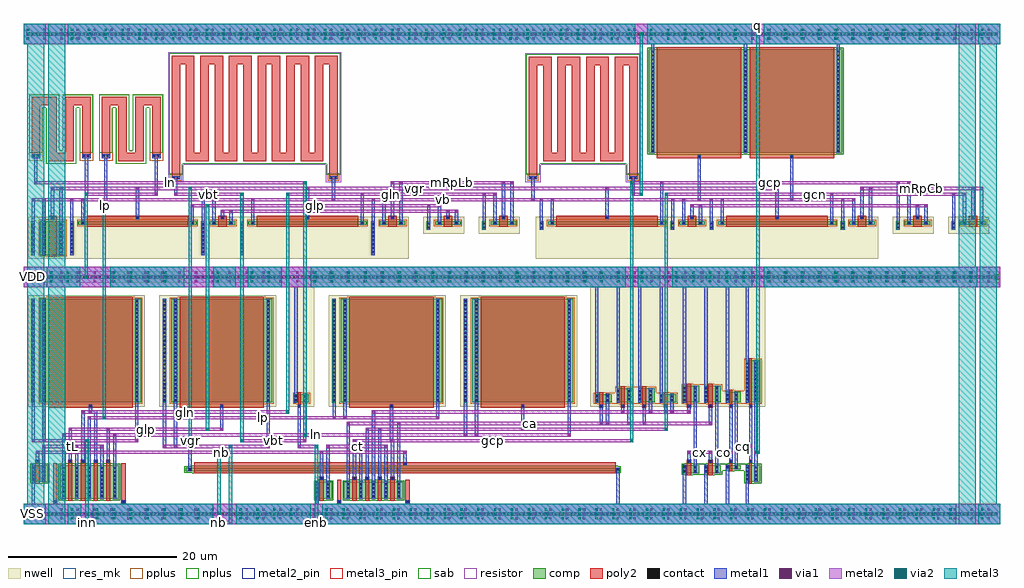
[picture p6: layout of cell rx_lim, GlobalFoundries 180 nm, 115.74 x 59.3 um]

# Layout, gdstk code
import gdstk
lib = gdstk.Library(unit=1e-6, precision=1e-09)
def R(c, l, rs):  # rectangles x0, y0, x1, y1
    for r in rs: c.add(gdstk.rectangle(r[:2], r[2:], *l))
def A(c, l, x, y, w, h, nx, ny, dx, dy):  # array of equal rectangles
    R(c, l, [(x+i*dx, y+j*dy, x+i*dx+w, y+j*dy+h) for i in range(nx) for j in range(ny)])
nwell = (21, 0)
comp = (22, 0)
poly2 = (30, 0)
pplus = (31, 0)
nplus = (32, 0)
contact = (33, 0)
metal1 = (34, 0)
via1 = (35, 0)
metal2 = (36, 0)
metal2_pin = (36, 10)
via2 = (38, 0)
metal3 = (42, 0)
metal3_pin = (42, 10)
sab = (49, 0)
resistor = (62, 0)
res_mk = (110, 5)

rx_lim = lib.new_cell('rx_lim')
R(rx_lim, nwell, [(0.45,11.485,14.33,24.75), (16.03,11.485,29.91,24.75), (31.46,11.485,34.39,26.2), (36.14,11.485,50.02,24.75), (51.72,11.485,65.6,24.75), (67.15,11.485,87.91,26.2), (0.15,26.2,115.59,27.6), (0.45,29.05,45.65,34.03), (60.71,29.05,101.33,34.03), (47.35,32.05,52.23,34.03), (53.93,32.05,58.81,34.03), (103.03,32.05,107.91,34.03), (109.61,32.05,114.49,34.03)])
A(rx_lim, comp, 96.9, 32.5, 0.38, 1, 3, 1, 6.58, 0)
A(rx_lim, comp, 42.2, 33.08, 3, 0.42, 3, 1, 6.58, 0)
A(rx_lim, comp, 97.88, 33.08, 3, 0.42, 3, 1, 6.58, 0)
R(rx_lim, comp, [(0.3,-1.39,115.44,-1.01), (4.25,0.6,11.25,4.6), (34.59,0.6,36.54,2.6), (37.94,0.6,44.94,2.6), (0.9,2.6,2.85,4.6), (85.58,2.6,87.31,4.6), (78.15,3.6,80.1,4.6), (80.7,3.6,82.65,4.6), (19.175,3.87,70.625,4.29), (83.25,4.1,84.98,4.6), (0.9,12.015,1.28,24.3), (1.88,12.015,13.88,24.3), (16.48,12.015,16.86,24.3), (17.46,12.015,29.46,24.3), (32.06,12.015,33.79,13.015), (36.59,12.015,36.97,24.3), (37.57,12.015,49.57,24.3), (52.17,12.015,52.55,24.3), (53.15,12.015,65.15,24.3), (67.75,12.015,69.7,13.015), (70.3,12.015,72.25,13.715), (72.85,12.015,74.8,13.715), (75.4,12.015,77.35,13.015), (78.15,12.015,80.1,14.015), (80.7,12.015,82.65,14.015), (83.25,12.015,84.98,13.265), (85.58,12.015,87.31,17.015), (0.3,26.71,115.44,27.09), (0.9,29.5,1.28,33.5), (1.88,29.5,4.88,33.5), (5.48,29.5,5.86,33.5), (21.06,29.5,21.44,33.5), (25.64,29.5,26.02,33.5), (41.22,29.5,41.6,33.5), (47.8,32.5,48.18,33.5), (54.38,32.5,54.76,33.5), (61.16,32.5,61.54,33.5), (76.74,32.5,77.12,33.5), (81.32,32.5,81.7,33.5), (6.46,33.08,20.46,33.5), (22.04,33.08,25.04,33.5), (26.62,33.08,40.62,33.5), (62.14,33.08,76.14,33.5), (77.72,33.08,80.72,33.5), (82.3,33.08,96.3,33.5), (74.06,41.615,97.06,53.9), (0.3,55.51,115.44,55.89)])
A(rx_lim, poly2, 5.25, 0.37, 0.5, 4.86, 4, 1, 1.5, 0)
A(rx_lim, poly2, 38.94, 0.37, 0.5, 2.86, 4, 1, 1.5, 0)
A(rx_lim, poly2, 43.2, 32.85, 1, 1.28, 3, 1, 6.58, 0)
A(rx_lim, poly2, 98.88, 32.85, 1, 1.28, 3, 1, 6.58, 0)
A(rx_lim, poly2, 19.2, 40.615, 2.7, 1, 5, 1, 3.4, 0)
A(rx_lim, poly2, 61.56, 40.615, 2.7, 1, 3, 1, 3.4, 0)
A(rx_lim, poly2, 19.2, 41.615, 1, 10.525, 10, 1, 1.7, 0)
A(rx_lim, poly2, 61.56, 41.615, 1, 10.39, 6, 1, 1.7, 0)
A(rx_lim, poly2, 59.86, 52.005, 2.7, 1, 4, 1, 3.4, 0)
A(rx_lim, poly2, 17.5, 52.14, 2.7, 1, 6, 1, 3.4, 0)
R(rx_lim, poly2, [(3.45,0.03,3.95,4.83), (11.55,0.03,12.05,4.83), (37.14,0.03,37.64,2.83), (45.24,0.03,45.74,2.83), (35.04,0.37,35.54,3.23), (1.35,2.37,1.85,5.23), (86.03,2.37,86.31,4.86), (78.6,3.37,79.1,5.23), (81.15,3.37,81.65,5.23), (20.175,3.64,70.175,4.92), (83.7,3.87,83.98,4.86), (83.655,4.86,84.025,5.23), (85.985,4.86,86.355,5.23), (2.88,11.385,12.88,24.53), (18.46,11.385,28.46,24.53), (32.465,11.385,32.835,11.755), (38.57,11.385,48.57,24.53), (54.15,11.385,64.15,24.53), (68.2,11.385,68.7,13.245), (70.75,11.385,71.25,13.945), (73.3,11.385,73.8,13.945), (75.85,11.385,76.35,13.245), (78.6,11.385,79.1,14.245), (81.15,11.385,81.65,14.245), (83.655,11.385,84.025,11.755), (85.985,11.385,86.355,11.755), (32.51,11.755,32.79,13.245), (83.7,11.755,83.98,13.495), (86.03,11.755,86.31,17.245), (2.88,29.27,3.88,34.13), (7.46,32.85,19.46,34.13), (23.04,32.85,24.04,34.13), (27.62,32.85,39.62,34.13), (63.14,32.85,75.14,34.13), (78.72,32.85,79.72,34.13), (83.3,32.85,95.3,34.13), (17.5,38.505,18.5,52.14), (36.2,38.505,37.2,52.14), (59.86,38.505,60.86,52.005), (71.76,38.505,72.76,52.005), (2.9,40.615,5.9,41.615), (11.2,40.615,14.2,41.615), (75.06,40.985,85.06,54.13), (86.06,40.985,96.06,54.13), (0.9,41.005,1.9,47.255), (6.9,41.005,7.9,47.255), (9.2,41.005,10.2,47.255), (15.2,41.005,16.2,47.255), (2.9,41.615,3.9,47.255), (4.9,41.615,5.9,47.255), (11.2,41.615,12.2,47.255), (13.2,41.615,14.2,47.255), (0.9,47.255,3.9,48.255), (4.9,47.255,7.9,48.255), (9.2,47.255,12.2,48.255), (13.2,47.255,16.2,48.255)])
A(rx_lim, pplus, 67.97, 11.785, 0.96, 0.07, 4, 1, 2.55, 0)
A(rx_lim, pplus, 42.97, 32.85, 1.46, 0.07, 3, 1, 6.58, 0)
A(rx_lim, pplus, 98.65, 32.85, 1.46, 0.07, 3, 2, 6.58, 0.81)
A(rx_lim, pplus, 42.04, 32.92, 3.32, 0.74, 3, 1, 6.58, 0)
A(rx_lim, pplus, 97.72, 32.92, 3.32, 0.74, 3, 1, 6.58, 0)
A(rx_lim, pplus, 2.65, 33.66, 1.46, 0.07, 3, 1, 20.16, 0)
R(rx_lim, pplus, [(0.28,-1.41,115.46,-0.99), (2.65,11.785,13.11,11.855), (18.23,11.785,28.69,11.855), (32.28,11.785,33.02,11.855), (38.34,11.785,48.8,11.855), (53.92,11.785,64.38,11.855), (78.37,11.785,79.33,11.855), (80.92,11.785,81.88,11.855), (83.47,11.785,84.21,11.855), (85.8,11.785,86.54,11.855), (1.72,11.855,14.04,24.46), (17.3,11.855,29.62,24.46), (31.9,11.855,33.95,13.175), (37.41,11.855,49.73,24.46), (52.99,11.855,65.31,24.46), (67.59,11.855,77.51,13.175), (77.99,11.855,87.47,13.425), (32.28,13.175,33.02,13.245), (67.97,13.175,68.93,13.245), (70.14,13.175,74.96,13.875), (75.62,13.175,76.58,13.245), (77.99,13.425,82.81,14.175), (83.47,13.425,84.21,13.495), (85.42,13.425,87.47,17.175), (70.52,13.875,71.48,13.945), (73.07,13.875,74.03,13.945), (78.37,14.175,79.33,14.245), (80.92,14.175,81.88,14.245), (85.8,17.175,86.54,17.245), (2.65,24.46,13.11,24.53), (18.23,24.46,28.69,24.53), (38.34,24.46,48.8,24.53), (53.92,24.46,64.38,24.53), (2.65,29.27,4.11,29.34), (1.72,29.34,5.04,33.66), (7.23,32.85,19.69,32.92), (22.81,32.85,24.27,32.92), (27.39,32.85,39.85,32.92), (62.91,32.85,75.37,32.92), (78.49,32.85,79.95,32.92), (83.07,32.85,95.53,32.92), (6.3,32.92,20.62,33.66), (21.88,32.92,25.2,33.66), (26.46,32.92,40.78,33.66), (61.98,32.92,76.3,33.66), (77.56,32.92,80.88,33.66), (82.14,32.92,96.46,33.66), (7.23,33.66,19.69,33.73), (27.39,33.66,39.85,33.73), (49.55,33.66,51.01,33.73), (56.13,33.66,57.59,33.73), (62.91,33.66,75.37,33.73), (78.49,33.66,79.95,33.73), (83.07,33.66,95.53,33.73), (17.3,38.305,18.7,39.115), (36,38.305,37.4,39.115), (59.66,38.305,61.06,39.115), (71.56,38.305,72.96,39.115), (2.6,40.315,6.2,41.915), (10.9,40.315,14.5,41.915), (0.6,40.705,2.2,46.955), (6.6,40.705,8.2,46.955), (8.9,40.705,10.5,46.955), (14.9,40.705,16.5,46.955), (2.6,41.915,4.2,46.955), (4.6,41.915,6.2,46.955), (10.9,41.915,12.5,46.955), (12.9,41.915,14.5,46.955), (0.6,46.955,4.2,48.555), (4.6,46.955,8.2,48.555), (8.9,46.955,12.5,48.555), (12.9,46.955,16.5,48.555), (0.28,55.49,115.46,55.91)])
A(rx_lim, nplus, 5.02, 0.37, 0.96, 0.07, 4, 2, 1.5, 4.39)
A(rx_lim, nplus, 38.71, 0.37, 0.96, 0.07, 4, 2, 1.5, 2.39)
A(rx_lim, nplus, 96.88, 32.48, 0.42, 1.04, 3, 1, 6.58, 0)
R(rx_lim, nplus, [(34.81,0.37,35.77,0.44), (4.09,0.44,11.41,4.76), (34.43,0.44,36.7,2.76), (37.78,0.44,45.1,2.76), (1.12,2.37,2.08,2.44), (85.8,2.37,86.54,2.44), (0.74,2.44,3.01,4.76), (85.42,2.44,87.47,3.94), (34.81,2.76,35.77,2.83), (78.37,3.37,79.33,3.44), (80.92,3.37,81.88,3.44), (77.99,3.44,82.81,3.94), (19.945,3.64,70.405,3.71), (19.015,3.71,70.785,4.45), (83.47,3.87,84.21,3.94), (77.99,3.94,87.47,4.76), (19.945,4.45,70.405,4.52), (1.12,4.76,2.08,4.83), (78.37,4.76,79.33,4.83), (80.92,4.76,81.88,4.83), (83.47,4.76,84.21,4.83), (85.8,4.76,86.54,4.83), (0.88,11.995,1.3,24.32), (16.46,11.995,16.88,24.32), (36.57,11.995,36.99,24.32), (52.15,11.995,52.57,24.32), (0.14,26.55,0.74,26.69), (115,26.55,115.6,26.69), (0.14,26.69,115.6,27.11), (0.14,27.11,0.74,27.25), (115,27.11,115.6,27.25), (0.88,29.48,1.3,33.52), (5.46,29.48,5.88,33.52), (21.04,29.48,21.46,33.52), (25.62,29.48,26.04,33.52), (41.2,29.48,41.62,33.52), (47.78,32.48,48.2,33.52), (54.36,32.48,54.78,33.52), (61.14,32.48,61.56,33.52), (76.72,32.48,77.14,33.52), (81.3,32.48,81.72,33.52), (74.83,41.385,85.29,41.455), (85.83,41.385,96.29,41.455), (73.9,41.455,97.22,54.06), (74.83,54.06,85.29,54.13), (85.83,54.06,96.29,54.13)])
A(rx_lim, contact, 0.42, -1.31, 0.22, 0.22, 245, 2, 0.47, 28.1)
A(rx_lim, contact, 34.665, 0.785, 0.22, 0.22, 1, 4, 0, 0.47)
A(rx_lim, contact, 35.93, 0.785, 0.22, 0.22, 1, 4, 0, 0.47)
A(rx_lim, contact, 38.33, 0.785, 0.22, 0.22, 5, 4, 1.5, 0.47)
A(rx_lim, contact, 4.64, 0.845, 0.22, 0.22, 5, 8, 1.5, 0.47)
A(rx_lim, contact, 0.975, 2.785, 0.22, 0.22, 1, 4, 0, 0.47)
A(rx_lim, contact, 2.24, 2.785, 0.22, 0.22, 1, 4, 0, 0.47)
A(rx_lim, contact, 85.655, 2.785, 0.22, 0.22, 1, 4, 0, 0.47)
A(rx_lim, contact, 86.7, 2.785, 0.22, 0.22, 1, 4, 0, 0.47)
A(rx_lim, contact, 39.08, 2.935, 0.22, 0.22, 4, 1, 1.5, 0)
A(rx_lim, contact, 5.39, 4.935, 0.22, 0.22, 4, 1, 1.5, 0)
A(rx_lim, contact, 68.34, 11.46, 0.22, 0.22, 4, 1, 2.55, 0)
A(rx_lim, contact, 0.98, 12.17, 0.22, 0.22, 1, 26, 0, 0.47)
A(rx_lim, contact, 2.27, 12.17, 0.22, 0.22, 1, 26, 0, 0.47)
A(rx_lim, contact, 13.27, 12.17, 0.22, 0.22, 1, 26, 0, 0.47)
A(rx_lim, contact, 16.56, 12.17, 0.22, 0.22, 1, 26, 0, 0.47)
A(rx_lim, contact, 17.85, 12.17, 0.22, 0.22, 1, 26, 0, 0.47)
A(rx_lim, contact, 28.85, 12.17, 0.22, 0.22, 1, 26, 0, 0.47)
A(rx_lim, contact, 36.67, 12.17, 0.22, 0.22, 1, 26, 0, 0.47)
A(rx_lim, contact, 37.96, 12.17, 0.22, 0.22, 1, 26, 0, 0.47)
A(rx_lim, contact, 48.96, 12.17, 0.22, 0.22, 1, 26, 0, 0.47)
A(rx_lim, contact, 52.25, 12.17, 0.22, 0.22, 1, 26, 0, 0.47)
A(rx_lim, contact, 53.54, 12.17, 0.22, 0.22, 1, 26, 0, 0.47)
A(rx_lim, contact, 64.54, 12.17, 0.22, 0.22, 1, 26, 0, 0.47)
A(rx_lim, contact, 78.225, 12.2, 0.22, 0.22, 1, 4, 0, 0.47)
A(rx_lim, contact, 79.49, 12.2, 0.22, 0.22, 1, 4, 0, 0.47)
A(rx_lim, contact, 80.775, 12.2, 0.22, 0.22, 1, 4, 0, 0.47)
A(rx_lim, contact, 82.04, 12.2, 0.22, 0.22, 1, 4, 0, 0.47)
A(rx_lim, contact, 70.375, 12.285, 0.22, 0.22, 1, 3, 0, 0.47)
A(rx_lim, contact, 71.64, 12.285, 0.22, 0.22, 1, 3, 0, 0.47)
A(rx_lim, contact, 72.925, 12.285, 0.22, 0.22, 1, 3, 0, 0.47)
A(rx_lim, contact, 74.19, 12.285, 0.22, 0.22, 1, 3, 0, 0.47)
A(rx_lim, contact, 85.655, 12.29, 0.22, 0.22, 1, 10, 0, 0.47)
A(rx_lim, contact, 86.7, 12.29, 0.22, 0.22, 1, 10, 0, 0.47)
A(rx_lim, contact, 0.98, 29.745, 0.22, 0.22, 1, 8, 0, 0.47)
A(rx_lim, contact, 2.27, 29.745, 0.22, 0.22, 1, 8, 0, 0.47)
A(rx_lim, contact, 4.27, 29.745, 0.22, 0.22, 1, 8, 0, 0.47)
A(rx_lim, contact, 5.56, 29.745, 0.22, 0.22, 1, 8, 0, 0.47)
A(rx_lim, contact, 21.14, 29.745, 0.22, 0.22, 1, 8, 0, 0.47)
A(rx_lim, contact, 25.72, 29.745, 0.22, 0.22, 1, 8, 0, 0.47)
A(rx_lim, contact, 41.3, 29.745, 0.22, 0.22, 1, 8, 0, 0.47)
A(rx_lim, contact, 96.98, 32.655, 0.22, 0.22, 3, 2, 6.58, 0.47)
A(rx_lim, contact, 3.27, 33.835, 0.22, 0.22, 5, 1, 10.08, 0)
A(rx_lim, contact, 69.03, 33.835, 0.22, 0.22, 4, 1, 10.08, 0)
A(rx_lim, contact, 74.45, 41.77, 0.22, 0.22, 3, 26, 11, 0.47)
A(rx_lim, contact, 0.42, 55.59, 0.22, 0.22, 245, 1, 0.47, 0)
R(rx_lim, contact, [(3.59,0.105,3.81,0.325), (11.69,0.105,11.91,0.325), (37.28,0.105,37.5,0.325), (45.38,0.105,45.6,0.325), (35.18,2.935,35.4,3.155), (78.225,3.755,78.445,3.975), (79.49,3.755,79.71,3.975), (80.775,3.755,80.995,3.975), (82.04,3.755,82.26,3.975), (19.565,3.97,19.785,4.19), (70.33,3.97,70.55,4.19), (78.225,4.225,78.445,4.445), (79.49,4.225,79.71,4.445), (80.775,4.225,80.995,4.445), (82.04,4.225,82.26,4.445), (83.325,4.24,83.545,4.46), (84.37,4.24,84.59,4.46), (45.065,4.625,45.285,4.845), (1.49,4.935,1.71,5.155), (78.74,4.935,78.96,5.155), (81.29,4.935,81.51,5.155), (83.73,4.935,83.95,5.155), (86.06,4.935,86.28,5.155), (7.77,11.46,7.99,11.68), (23.35,11.46,23.57,11.68), (32.54,11.46,32.76,11.68), (43.46,11.46,43.68,11.68), (59.04,11.46,59.26,11.68), (78.74,11.46,78.96,11.68), (81.29,11.46,81.51,11.68), (83.73,11.46,83.95,11.68), (86.06,11.46,86.28,11.68), (32.135,12.17,32.355,12.39), (33.18,12.17,33.4,12.39), (67.825,12.17,68.045,12.39), (69.09,12.17,69.31,12.39), (75.475,12.17,75.695,12.39), (76.74,12.17,76.96,12.39), (83.325,12.295,83.545,12.515), (84.37,12.295,84.59,12.515), (32.135,12.64,32.355,12.86), (33.18,12.64,33.4,12.86), (67.825,12.64,68.045,12.86), (69.09,12.64,69.31,12.86), (75.475,12.64,75.695,12.86), (76.74,12.64,76.96,12.86), (83.325,12.765,83.545,12.985), (84.37,12.765,84.59,12.985), (47.88,32.655,48.1,32.875), (54.46,32.655,54.68,32.875), (61.24,32.655,61.46,32.875), (76.82,32.655,77.04,32.875), (81.4,32.655,81.62,32.875), (47.88,33.125,48.1,33.345), (54.46,33.125,54.68,33.345), (61.24,33.125,61.46,33.345), (76.82,33.125,77.04,33.345), (81.4,33.125,81.62,33.345), (6.85,33.18,7.07,33.4), (19.85,33.18,20.07,33.4), (22.43,33.18,22.65,33.4), (24.43,33.18,24.65,33.4), (27.01,33.18,27.23,33.4), (40.01,33.18,40.23,33.4), (42.59,33.18,42.81,33.4), (44.59,33.18,44.81,33.4), (49.17,33.18,49.39,33.4), (51.17,33.18,51.39,33.4), (55.75,33.18,55.97,33.4), (57.75,33.18,57.97,33.4), (62.53,33.18,62.75,33.4), (75.53,33.18,75.75,33.4), (78.11,33.18,78.33,33.4), (80.11,33.18,80.33,33.4), (82.69,33.18,82.91,33.4), (95.69,33.18,95.91,33.4), (98.27,33.18,98.49,33.4), (100.27,33.18,100.49,33.4), (104.85,33.18,105.07,33.4), (106.85,33.18,107.07,33.4), (111.43,33.18,111.65,33.4), (113.43,33.18,113.65,33.4), (50.17,33.835,50.39,34.055), (56.75,33.835,56.97,34.055), (105.85,33.835,106.07,34.055), (112.43,33.835,112.65,34.055), (17.655,38.575,17.875,38.795), (18.125,38.575,18.345,38.795), (36.355,38.575,36.575,38.795), (36.825,38.575,37.045,38.795), (60.015,38.575,60.235,38.795), (60.485,38.575,60.705,38.795), (71.915,38.575,72.135,38.795), (72.385,38.575,72.605,38.795), (79.95,41.06,80.17,41.28), (90.95,41.06,91.17,41.28), (1.055,41.175,1.275,41.395), (1.525,41.175,1.745,41.395), (7.055,41.175,7.275,41.395), (7.525,41.175,7.745,41.395), (9.355,41.175,9.575,41.395), (9.825,41.175,10.045,41.395), (15.355,41.175,15.575,41.395), (15.825,41.175,16.045,41.395)])
A(rx_lim, metal1, 78.145, 0, 0.38, 4.605, 3, 1, 2.55, 0)
A(rx_lim, metal1, 67.745, 12.01, 0.38, 13.69, 4, 1, 2.55, 0)
A(rx_lim, metal1, 78.145, 12.01, 0.38, 13.69, 3, 1, 2.55, 0)
A(rx_lim, metal1, 74.37, 41.61, 0.38, 12.89, 3, 1, 11, 0)
R(rx_lim, metal1, [(0,-2.4,115.74,0), (0.895,0,1.275,4.605), (3.51,0,3.89,0.4), (11.61,0,11.99,0.4), (34.585,0,34.965,2.605), (37.2,0,37.58,0.4), (45.3,0,45.68,0.4), (70.25,0,70.63,4.295), (85.575,0,85.955,4.605), (4.56,0.595,4.94,8.35), (6.06,0.595,6.44,6.99), (7.56,0.595,7.94,10.39), (9.06,0.595,9.44,6.99), (10.56,0.595,10.94,8.35), (35.85,0.595,36.23,6.99), (38.25,0.595,38.63,9.71), (39.75,0.595,40.13,6.99), (41.25,0.595,41.63,11.07), (42.75,0.595,43.13,6.99), (44.25,0.595,44.63,9.71), (2.16,2.595,2.54,6.99), (86.62,2.595,87,17.02), (35.1,2.855,35.48,6.31), (39,2.855,39.38,7.67), (40.5,2.855,40.88,9.03), (42,2.855,42.38,9.03), (43.5,2.855,43.88,7.29), (79.41,3.595,79.79,14.02), (81.96,3.595,82.34,14.02), (19.485,3.865,19.865,7.67), (84.29,4.095,84.67,13.27), (44.985,4.545,45.365,6.31), (1.41,4.855,1.79,6.31), (5.31,4.855,5.69,9.03), (6.81,4.855,7.19,11.07), (8.31,4.855,8.69,10.69), (9.81,4.855,10.19,9.03), (78.66,4.855,79.04,6.31), (81.21,4.855,81.59,6.31), (83.65,4.855,84.03,11.76), (85.98,4.855,86.36,11.76), (16.48,6.61,16.86,24.3), (17.77,6.61,18.15,24.305), (28.77,6.61,29.15,24.305), (32.46,6.61,32.84,11.76), (0.9,7.29,1.28,24.3), (2.19,7.29,2.57,24.305), (13.19,7.29,13.57,24.305), (33.1,7.29,33.48,13.02), (43.38,7.29,43.88,7.67), (43.38,7.67,43.76,11.76), (52.17,7.97,52.55,24.3), (53.46,7.97,53.84,24.305), (64.46,7.97,64.84,24.305), (23.27,8.65,23.65,11.76), (58.96,8.65,59.34,11.76), (68.26,9.33,68.64,11.76), (69.01,9.33,69.39,13.02), (71.56,9.33,71.94,13.72), (73.36,9.33,73.74,11.76), (81.21,9.33,81.59,11.76), (36.59,10.01,36.97,24.3), (37.88,10.01,38.26,24.305), (48.88,10.01,49.26,24.305), (7.69,10.69,8.69,11.07), (70.81,10.69,71.19,11.76), (74.11,10.69,74.49,13.72), (75.91,10.69,76.29,11.76), (76.66,10.69,77.04,13.02), (78.66,10.69,79.04,11.76), (7.69,11.07,8.07,11.76), (32.055,12.01,32.435,25.7), (85.575,12.01,85.955,25.7), (0,25.7,115.74,28.1), (2.19,29.495,2.57,36.23), (4.19,29.495,4.57,37.59), (0.9,29.5,1.28,36.23), (5.48,29.5,5.86,36.23), (21.06,29.5,21.44,36.23), (25.64,29.5,26.02,36.23), (41.22,29.5,41.6,36.23), (47.8,32.5,48.18,35.55), (54.38,32.5,54.76,36.91), (61.16,32.5,61.54,36.23), (76.74,32.5,77.12,36.23), (81.32,32.5,81.7,36.23), (96.9,32.5,97.28,36.23), (103.48,32.5,103.86,38.27), (110.06,32.5,110.44,36.91), (6.77,33.075,7.15,36.23), (19.77,33.075,20.15,35.55), (22.35,33.075,22.73,36.23), (24.35,33.075,24.73,34.87), (26.93,33.075,27.31,36.23), (39.93,33.075,40.31,36.91), (42.51,33.075,42.89,36.23), (44.51,33.075,44.89,38.27), (49.09,33.075,49.47,35.55), (51.09,33.075,51.47,34.87), (55.67,33.075,56.05,36.91), (57.67,33.075,58.05,38.27), (62.45,33.075,62.83,36.23), (75.45,33.075,75.83,38.27), (78.03,33.075,78.41,36.23), (80.03,33.075,80.41,35.55), (82.61,33.075,82.99,36.23), (95.61,33.075,95.99,36.91), (98.19,33.075,98.57,36.23), (100.19,33.075,100.57,37.59), (104.77,33.075,105.15,38.27), (106.77,33.075,107.15,35.55), (111.35,33.075,111.73,36.91), (113.35,33.075,113.73,37.59), (3.19,33.755,3.57,37.59), (13.27,33.755,13.65,37.59), (23.35,33.755,23.73,34.87), (33.43,33.755,33.81,37.59), (43.51,33.755,43.89,38.27), (50.09,33.755,50.47,34.87), (56.67,33.755,57.05,38.27), (68.95,33.755,69.33,37.59), (79.03,33.755,79.41,35.55), (89.11,33.755,89.49,37.59), (99.19,33.755,99.57,37.59), (105.77,33.755,106.15,35.55), (112.35,33.755,112.73,37.59), (9.51,35.17,9.89,41.005), (36.51,35.85,36.89,38.505), (60.17,35.85,60.55,38.505), (79.87,35.85,80.25,41.36), (90.87,35.85,91.25,41.36), (7.21,36.53,7.59,41.005), (15.51,36.53,15.89,41.005), (17.81,36.53,18.19,38.505), (72.07,36.53,72.45,38.505), (1.21,37.89,1.59,41.005), (17.5,38.505,18.5,38.865), (36.2,38.505,37.2,38.865), (59.86,38.505,60.86,38.865), (71.76,38.505,72.76,38.865), (0.9,41.005,1.9,41.465), (6.9,41.005,7.9,41.465), (9.2,41.005,10.2,41.465), (15.2,41.005,16.2,41.465), (0,54.5,115.74,56.9)])
A(rx_lim, via1, 0.27, -1.85, 0.26, 0.26, 58, 3, 2, 0.52)
A(rx_lim, via1, 0.27, 26.25, 0.26, 0.26, 58, 3, 2, 0.52)
A(rx_lim, via1, 0.27, 55.05, 0.26, 0.26, 58, 3, 2, 0.52)
R(rx_lim, via1, [(1.47,5.99,1.73,6.25), (35.16,5.99,35.42,6.25), (45.045,5.99,45.305,6.25), (78.72,5.99,78.98,6.25), (79.47,5.99,79.73,6.25), (81.27,5.99,81.53,6.25), (82.02,5.99,82.28,6.25), (83.71,5.99,83.97,6.25), (86.68,5.99,86.94,6.25), (2.22,6.67,2.48,6.93), (6.12,6.67,6.38,6.93), (9.12,6.67,9.38,6.93), (16.54,6.67,16.8,6.93), (17.83,6.67,18.09,6.93), (28.83,6.67,29.09,6.93), (32.52,6.67,32.78,6.93), (35.91,6.67,36.17,6.93), (39.81,6.67,40.07,6.93), (42.81,6.67,43.07,6.93), (84.35,6.67,84.61,6.93), (86.04,6.67,86.3,6.93), (0.96,7.35,1.22,7.61), (2.25,7.35,2.51,7.61), (13.25,7.35,13.51,7.61), (19.545,7.35,19.805,7.61), (33.16,7.35,33.42,7.61), (39.06,7.35,39.32,7.61), (43.44,7.35,43.7,7.61), (4.62,8.03,4.88,8.29), (10.62,8.03,10.88,8.29), (52.23,8.03,52.49,8.29), (53.52,8.03,53.78,8.29), (64.52,8.03,64.78,8.29), (5.37,8.71,5.63,8.97), (9.87,8.71,10.13,8.97), (23.33,8.71,23.59,8.97), (40.56,8.71,40.82,8.97), (42.06,8.71,42.32,8.97), (59.02,8.71,59.28,8.97), (38.31,9.39,38.57,9.65), (44.31,9.39,44.57,9.65), (68.32,9.39,68.58,9.65), (69.07,9.39,69.33,9.65), (71.62,9.39,71.88,9.65), (73.42,9.39,73.68,9.65), (81.27,9.39,81.53,9.65), (7.62,10.07,7.88,10.33), (36.65,10.07,36.91,10.33), (37.94,10.07,38.2,10.33), (48.94,10.07,49.2,10.33), (6.87,10.75,7.13,11.01), (7.75,10.75,8.01,11.01), (41.31,10.75,41.57,11.01), (70.87,10.75,71.13,11.01), (74.17,10.75,74.43,11.01), (75.97,10.75,76.23,11.01), (76.72,10.75,76.98,11.01), (78.72,10.75,78.98,11.01), (23.41,34.55,23.67,34.81), (24.41,34.55,24.67,34.81), (50.15,34.55,50.41,34.81), (51.15,34.55,51.41,34.81), (9.57,35.23,9.83,35.49), (19.83,35.23,20.09,35.49), (47.86,35.23,48.12,35.49), (49.15,35.23,49.41,35.49), (79.09,35.23,79.35,35.49), (80.09,35.23,80.35,35.49), (105.83,35.23,106.09,35.49), (106.83,35.23,107.09,35.49), (0.96,35.91,1.22,36.17), (2.25,35.91,2.51,36.17), (5.54,35.91,5.8,36.17), (6.83,35.91,7.09,36.17), (21.12,35.91,21.38,36.17), (22.41,35.91,22.67,36.17), (25.7,35.91,25.96,36.17), (26.99,35.91,27.25,36.17), (36.57,35.91,36.83,36.17), (41.28,35.91,41.54,36.17), (42.57,35.91,42.83,36.17), (60.23,35.91,60.49,36.17), (61.22,35.91,61.48,36.17), (62.51,35.91,62.77,36.17), (76.8,35.91,77.06,36.17), (78.09,35.91,78.35,36.17), (79.93,35.91,80.19,36.17), (81.38,35.91,81.64,36.17), (82.67,35.91,82.93,36.17), (90.93,35.91,91.19,36.17), (96.96,35.91,97.22,36.17), (98.25,35.91,98.51,36.17), (7.27,36.59,7.53,36.85), (15.57,36.59,15.83,36.85), (17.87,36.59,18.13,36.85), (39.99,36.59,40.25,36.85), (54.44,36.59,54.7,36.85), (55.73,36.59,55.99,36.85), (72.13,36.59,72.39,36.85), (95.67,36.59,95.93,36.85), (110.12,36.59,110.38,36.85), (111.41,36.59,111.67,36.85), (3.25,37.27,3.51,37.53), (4.25,37.27,4.51,37.53), (13.33,37.27,13.59,37.53), (33.49,37.27,33.75,37.53), (69.01,37.27,69.27,37.53), (89.17,37.27,89.43,37.53), (99.25,37.27,99.51,37.53), (100.25,37.27,100.51,37.53), (112.41,37.27,112.67,37.53), (113.41,37.27,113.67,37.53), (1.27,37.95,1.53,38.21), (43.57,37.95,43.83,38.21), (44.57,37.95,44.83,38.21), (56.73,37.95,56.99,38.21), (57.73,37.95,57.99,38.21), (75.51,37.95,75.77,38.21), (103.54,37.95,103.8,38.21), (104.83,37.95,105.09,38.21)])
R(rx_lim, metal2, [(0,-2.4,115.74,0), (1.41,5.93,45.365,6.31), (78.66,5.93,81.59,6.31), (81.96,5.93,84.03,6.31), (86.62,5.93,87.23,6.31), (2.16,6.61,9.44,6.99), (16.48,6.61,29.15,6.99), (32.46,6.61,34.87,6.99), (35.85,6.61,43.13,6.99), (84.29,6.61,86.36,6.99), (0.9,7.29,13.57,7.67), (19.485,7.29,19.91,7.67), (25.65,7.29,33.48,7.67), (39,7.29,72.27,7.67), (4.56,7.97,64.84,8.35), (5.31,8.65,23.65,9.03), (40.5,8.65,76.35,9.03), (38.25,9.33,81.59,9.71), (7.56,10.01,49.26,10.39), (6.81,10.69,31.47,11.07), (41.25,10.69,79.04,11.07), (0,25.7,115.74,28.1), (23.35,34.49,51.47,34.87), (9.33,35.17,9.89,35.55), (19.77,35.17,49.47,35.55), (79.03,35.17,107.15,35.55), (0.9,35.85,98.57,36.23), (7.205,36.53,15.89,36.91), (17.81,36.53,26.03,36.91), (31.09,36.53,56.05,36.91), (72.07,36.53,73.375,36.91), (75.97,36.53,111.73,36.91), (3.19,37.21,89.49,37.59), (99.19,37.21,113.73,37.59), (1.21,37.89,33.51,38.27), (43.51,37.89,58.05,38.27), (71.89,37.89,105.15,38.27), (0,54.5,115.74,56.9)])
R(rx_lim, metal2_pin, [(0.95,-1.25,1.05,-1.15), (0.95,26.85,1.05,26.95)])
A(rx_lim, via2, 0.37, -1.85, 0.26, 0.26, 1, 3, 0, 0.52)
A(rx_lim, via2, 5.57, -1.85, 0.26, 0.26, 1, 3, 0, 0.52)
A(rx_lim, via2, 8.55, -1.85, 0.26, 0.26, 7, 3, 2, 0.52)
A(rx_lim, via2, 25.55, -1.85, 0.26, 0.26, 4, 3, 2, 0.52)
A(rx_lim, via2, 35.75, -1.85, 0.26, 0.26, 38, 3, 2, 0.52)
A(rx_lim, via2, 113.51, -1.85, 0.26, 0.26, 1, 3, 0, 0.52)
A(rx_lim, via2, 3.07, 26.25, 0.26, 0.26, 1, 3, 0, 0.52)
A(rx_lim, via2, 5.07, 26.25, 0.26, 0.26, 1, 3, 0, 0.52)
A(rx_lim, via2, 10.59, 26.25, 0.26, 0.26, 4, 3, 2, 0.52)
A(rx_lim, via2, 22.83, 26.25, 0.26, 0.26, 1, 3, 0, 0.52)
A(rx_lim, via2, 26.91, 26.25, 0.26, 0.26, 1, 3, 0, 0.52)
A(rx_lim, via2, 28.91, 26.25, 0.26, 0.26, 1, 3, 0, 0.52)
A(rx_lim, via2, 34.39, 26.25, 0.26, 0.26, 19, 3, 2, 0.52)
A(rx_lim, via2, 73.15, 26.25, 0.26, 0.26, 1, 3, 0, 0.52)
A(rx_lim, via2, 77.23, 26.25, 0.26, 0.26, 5, 3, 2, 0.52)
A(rx_lim, via2, 88.11, 26.25, 0.26, 0.26, 13, 3, 2, 0.52)
A(rx_lim, via2, 0.37, 55.05, 0.26, 0.26, 1, 3, 0, 0.52)
A(rx_lim, via2, 5.57, 55.05, 0.26, 0.26, 34, 3, 2, 0.52)
A(rx_lim, via2, 74.255, 55.05, 0.26, 0.26, 6, 3, 2, 0.52)
A(rx_lim, via2, 88.11, 55.05, 0.26, 0.26, 11, 3, 2, 0.52)
A(rx_lim, via2, 113.51, 55.05, 0.26, 0.26, 1, 3, 0, 0.52)
R(rx_lim, via2, [(22.99,5.99,23.25,6.25), (86.91,5.99,87.17,6.25), (24.35,6.67,24.61,6.93), (34.55,6.67,34.81,6.93), (7.35,7.35,7.61,7.61), (19.59,7.35,19.85,7.61), (25.71,7.35,25.97,7.61), (71.95,7.35,72.21,7.61), (33.19,8.03,33.45,8.29), (21.63,8.71,21.89,8.97), (76.03,8.71,76.29,8.97), (9.39,10.07,9.65,10.33), (31.15,10.75,31.41,11.01), (7.265,26.77,7.525,27.03), (9.39,35.23,9.65,35.49), (21.63,35.23,21.89,35.49), (7.265,36.59,7.525,36.85), (25.71,36.59,25.97,36.85), (31.15,36.59,31.41,36.85), (73.055,36.59,73.315,36.85), (76.03,36.59,76.29,36.85), (19.59,37.27,19.85,37.53), (33.19,37.95,33.45,38.21), (71.95,37.95,72.21,38.21), (73.055,55.57,73.315,55.83)])
R(rx_lim, metal3, [(0,-2.4,2.6,0), (2.9,-2.4,4.9,25.7), (5.2,-2.4,6.78,0), (7.29,-2.4,7.67,7.67), (8.18,-2.4,22.42,0), (22.93,-2.4,23.31,6.31), (24.29,-2.4,24.67,6.99), (25.18,-2.4,33.98,0), (34.49,-2.4,34.87,6.99), (35.38,-2.4,110.54,0), (110.84,-2.4,112.84,25.7), (113.14,-2.4,115.74,0), (0.4,0,2.4,54.5), (113.34,0,115.34,54.5), (86.85,5.93,87.23,56.9), (19.53,7.29,19.91,37.59), (25.65,7.29,26.03,36.91), (71.89,7.29,72.27,38.27), (33.13,7.97,33.51,38.27), (21.57,8.65,21.95,35.55), (75.97,8.65,76.35,36.91), (9.33,10.01,9.71,35.55), (31.09,10.69,31.47,36.91), (2.7,25.7,6.695,28.1), (10.22,25.7,19.02,28.1), (22.46,25.7,25.14,28.1), (26.54,25.7,30.58,28.1), (34.02,25.7,71.38,28.1), (72.78,25.7,75.46,28.1), (76.86,25.7,86.34,28.1), (87.74,25.7,113.04,28.1), (7.205,26.71,7.585,36.91), (2.9,28.1,4.9,56.9), (110.84,28.1,112.84,56.9), (72.995,36.53,73.375,55.89), (0,54.5,2.6,56.9), (5.2,54.5,72.485,56.9), (73.885,54.5,86.34,56.9), (87.74,54.5,110.54,56.9), (113.14,54.5,115.74,56.9)])
R(rx_lim, metal3_pin, [(7.43,-2.25,7.53,-2.15), (23.07,-2.25,23.17,-2.15), (24.43,-2.25,24.53,-2.15), (34.63,-2.25,34.73,-2.15), (86.99,56.65,87.09,56.75)])
A(rx_lim, sab, 18.92, 40.335, 3.26, 1.56, 5, 1, 3.4, 0)
A(rx_lim, sab, 61.28, 40.335, 3.26, 1.56, 3, 1, 3.4, 0)
A(rx_lim, sab, 18.92, 41.895, 1.56, 9.965, 10, 1, 1.7, 0)
A(rx_lim, sab, 61.28, 41.895, 1.56, 9.83, 6, 1, 1.7, 0)
A(rx_lim, sab, 59.58, 51.725, 3.26, 1.56, 4, 1, 3.4, 0)
A(rx_lim, sab, 17.22, 51.86, 3.26, 1.56, 6, 1, 3.4, 0)
R(rx_lim, sab, [(17.22,39.015,18.78,51.86), (35.92,39.015,37.48,51.86), (59.58,39.015,61.14,51.725), (71.48,39.015,73.04,51.725), (17.22,39.115,18.78,40.335), (35.92,39.115,37.48,40.335), (59.58,39.115,61.14,40.335), (71.48,39.115,73.04,40.335), (2.62,40.335,6.18,41.895), (10.92,40.335,14.48,41.895), (17.22,40.335,37.48,53.42), (59.58,40.335,73.04,53.285), (0.62,41.615,2.18,46.975), (6.62,41.615,8.18,46.975), (8.92,41.615,10.48,46.975), (14.92,41.615,16.48,46.975), (2.62,41.895,4.18,46.975), (4.62,41.895,6.18,46.975), (10.92,41.895,12.48,46.975), (12.92,41.895,14.48,46.975), (0.62,46.975,4.18,48.535), (4.62,46.975,8.18,48.535), (8.92,46.975,12.48,48.535), (12.92,46.975,16.48,48.535)])
R(rx_lim, resistor, [(17.1,38.105,18.9,40.215), (35.8,38.105,37.6,40.215), (59.46,38.105,61.26,40.215), (71.36,38.105,73.16,40.215), (17.1,40.215,37.6,53.54), (59.46,40.215,73.16,53.405)])
A(rx_lim, res_mk, 19.2, 40.615, 2.7, 1, 5, 1, 3.4, 0)
A(rx_lim, res_mk, 61.56, 40.615, 2.7, 1, 3, 1, 3.4, 0)
A(rx_lim, res_mk, 0.9, 41.615, 1, 5.64, 4, 1, 2, 0)
A(rx_lim, res_mk, 9.2, 41.615, 1, 5.64, 4, 1, 2, 0)
A(rx_lim, res_mk, 19.2, 41.615, 1, 10.525, 10, 1, 1.7, 0)
A(rx_lim, res_mk, 61.56, 41.615, 1, 10.39, 6, 1, 1.7, 0)
A(rx_lim, res_mk, 59.86, 52.005, 2.7, 1, 4, 1, 3.4, 0)
A(rx_lim, res_mk, 17.5, 52.14, 2.7, 1, 6, 1, 3.4, 0)
R(rx_lim, res_mk, [(17.22,39.115,18.78,40.335), (17.5,39.115,18.5,52.14), (35.92,39.115,37.48,40.335), (36.2,39.115,37.2,52.14), (59.58,39.115,61.14,40.335), (59.86,39.115,60.86,52.005), (71.48,39.115,73.04,40.335), (71.76,39.115,72.76,52.005), (17.22,40.335,37.48,53.42), (59.58,40.335,73.04,53.285), (2.9,40.615,5.9,41.615), (11.2,40.615,14.2,41.615), (0.9,47.255,3.9,48.255), (4.9,47.255,7.9,48.255), (9.2,47.255,12.2,48.255), (13.2,47.255,16.2,48.255)])
rx_lim.add(gdstk.Label('nb', (23.39,6.12), layer=36, texttype=0))
rx_lim.add(gdstk.Label('tL', (5.8,6.8), layer=36, texttype=0))
rx_lim.add(gdstk.Label('inn', (7.235,7.48), layer=36, texttype=0))
rx_lim.add(gdstk.Label('ln', (34.7,8.16), layer=36, texttype=0))
rx_lim.add(gdstk.Label('glp', (14.48,8.84), layer=36, texttype=0))
rx_lim.add(gdstk.Label('inp', (22.815,6.8), layer=36, texttype=0))
rx_lim.add(gdstk.Label('vbt', (29.565,7.48), layer=36, texttype=0))
rx_lim.add(gdstk.Label('enb', (33.665,6.8), layer=36, texttype=0))
rx_lim.add(gdstk.Label('ct', (39.49,6.8), layer=36, texttype=0))
rx_lim.add(gdstk.Label('gcp', (55.635,7.48), layer=36, texttype=0))
rx_lim.add(gdstk.Label('gcn', (58.425,8.84), layer=36, texttype=0))
rx_lim.add(gdstk.Label('cx', (80.125,6.12), layer=36, texttype=0))
rx_lim.add(gdstk.Label('ca', (59.92,9.52), layer=36, texttype=0))
rx_lim.add(gdstk.Label('lp', (28.41,10.2), layer=36, texttype=0))
rx_lim.add(gdstk.Label('gln', (19.14,10.88), layer=36, texttype=0))
rx_lim.add(gdstk.Label('cb', (60.145,10.88), layer=36, texttype=0))
rx_lim.add(gdstk.Label('co', (82.995,6.12), layer=36, texttype=0))
rx_lim.add(gdstk.Label('cq', (85.325,6.8), layer=36, texttype=0))
rx_lim.add(gdstk.Label('ln', (17.36,38.08), layer=36, texttype=0))
rx_lim.add(gdstk.Label('vgr', (46.34,37.4), layer=36, texttype=0))
rx_lim.add(gdstk.Label('vb', (49.735,36.04), layer=36, texttype=0))
rx_lim.add(gdstk.Label('vbt', (21.92,36.72), layer=36, texttype=0))
rx_lim.add(gdstk.Label('glp', (34.62,35.36), layer=36, texttype=0))
rx_lim.add(gdstk.Label('mRpLa', (37.41,34.68), layer=36, texttype=0))
rx_lim.add(gdstk.Label('gln', (43.57,36.72), layer=36, texttype=0))
rx_lim.add(gdstk.Label('mRpLb', (50.78,38.08), layer=36, texttype=0))
rx_lim.add(gdstk.Label('gcp', (88.52,38.08), layer=36, texttype=0))
rx_lim.add(gdstk.Label('gcn', (93.85,36.72), layer=36, texttype=0))
rx_lim.add(gdstk.Label('mRpCa', (93.09,35.36), layer=36, texttype=0))
rx_lim.add(gdstk.Label('mRpCb', (106.46,37.4), layer=36, texttype=0))
rx_lim.add(gdstk.Label('vgr', (19.7,7.48), layer=42, texttype=0))
rx_lim.add(gdstk.Label('lp', (9.61,35.36), layer=42, texttype=0))
rx_lim.add(gdstk.Label('VSS', (1,-1.2), layer=36, texttype=10))
rx_lim.add(gdstk.Label('VDD', (1,26.9), layer=36, texttype=10))
rx_lim.add(gdstk.Label('nb', (23.12,-2.2), layer=42, texttype=10))
rx_lim.add(gdstk.Label('inp', (24.48,-2.2), layer=42, texttype=10))
rx_lim.add(gdstk.Label('inn', (7.48,-2.2), layer=42, texttype=10))
rx_lim.add(gdstk.Label('enb', (34.68,-2.2), layer=42, texttype=10))
rx_lim.add(gdstk.Label('q', (87.04,56.7), layer=42, texttype=10))

lib.write_gds('rx_lim.gds')
